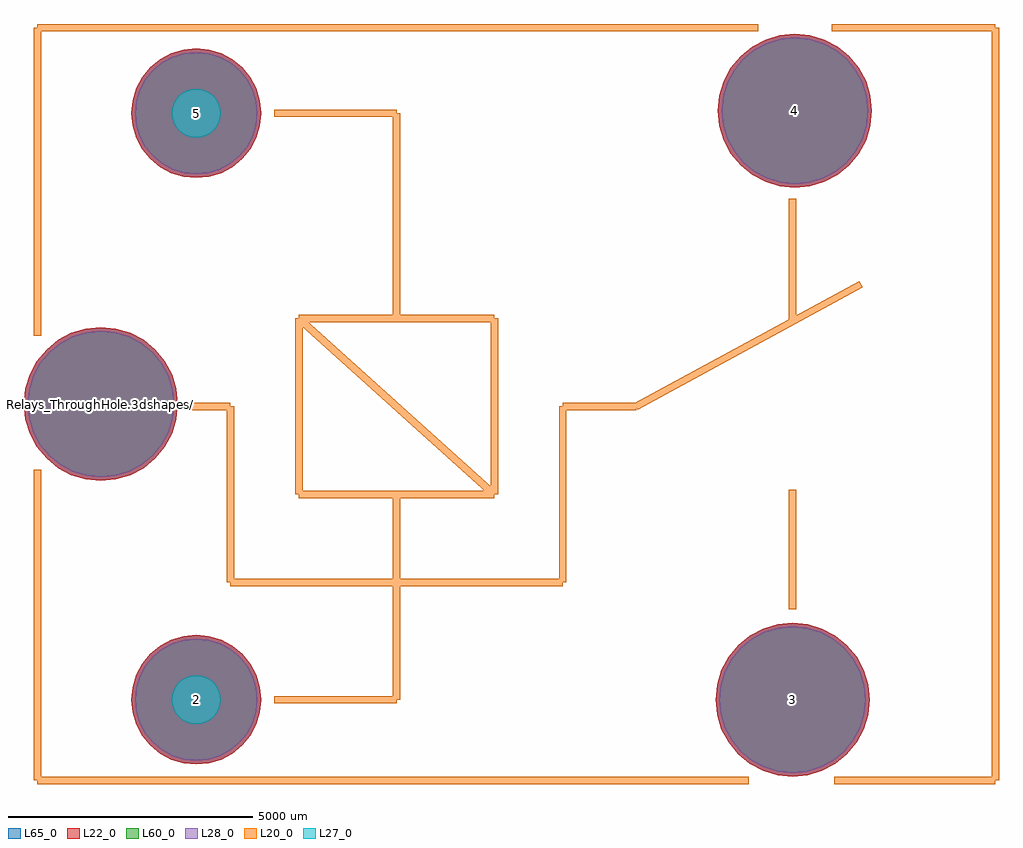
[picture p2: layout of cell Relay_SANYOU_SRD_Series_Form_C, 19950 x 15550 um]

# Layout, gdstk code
import gdstk
lib = gdstk.Library(unit=1e-6, precision=1e-09)
def P(c, l, *ps):  # polygons
    for p in ps: c.add(gdstk.Polygon(p, *l))
L20_0 = (20, 0)
L22_0 = (22, 0)
L27_0 = (27, 0)
L28_0 = (28, 0)
L60_0 = (60, 0)
L65_0 = (65, 0)

relay_sanyou_srd_series_ = lib.new_cell('Relay_SANYOU_SRD_Series_Form_C')
P(relay_sanyou_srd_series_, L22_0, [(1575,0),(1544.737,307.267),(1455.11,602.726),(1309.565,875.023),(1113.693,1113.693),(875.023,1309.565),(602.726,1455.11),(307.267,1544.737),(0,1575),(-307.267,1544.737),(-602.726,1455.11),(-875.023,1309.565),(-1113.693,1113.693),(-1309.565,875.023),(-1455.11,602.726),(-1544.737,307.267),(-1575,0),(-1544.737,-307.267),(-1455.11,-602.726),(-1309.565,-875.023),(-1113.693,-1113.693),(-875.023,-1309.565),(-602.726,-1455.11),(-307.267,-1544.737),(0,-1575),(307.267,-1544.737),(602.726,-1455.11),(875.023,-1309.565),(1113.693,-1113.693),(1309.565,-875.023),(1455.11,-602.726),(1544.737,-307.267)],
  [(3275,5950),(3249.54,6208.495),(3174.14,6457.056),(3051.697,6686.131),(2886.916,6886.916),(2686.131,7051.697),(2457.056,7174.14),(2208.495,7249.54),(1950,7275),(1691.505,7249.54),(1442.944,7174.14),(1213.869,7051.697),(1013.084,6886.916),(848.303,6686.131),(725.86,6457.056),(650.46,6208.495),(625,5950),(650.46,5691.505),(725.86,5442.944),(848.303,5213.869),(1013.084,5013.084),(1213.869,4848.303),(1442.944,4725.86),(1691.505,4650.46),(1950,4625),(2208.495,4650.46),(2457.056,4725.86),(2686.131,4848.303),(2886.916,5013.084),(3051.697,5213.869),(3174.14,5442.944),(3249.54,5691.505)],
  [(15775,6000),(15744.737,6307.267),(15655.11,6602.726),(15509.565,6875.023),(15313.693,7113.693),(15075.023,7309.565),(14802.726,7455.11),(14507.267,7544.737),(14200,7575),(13892.733,7544.737),(13597.274,7455.11),(13324.977,7309.565),(13086.307,7113.693),(12890.435,6875.023),(12744.89,6602.726),(12655.263,6307.267),(12625,6000),(12655.263,5692.733),(12744.89,5397.274),(12890.435,5124.977),(13086.307,4886.307),(13324.977,4690.435),(13597.274,4544.89),(13892.733,4455.263),(14200,4425),(14507.267,4455.263),(14802.726,4544.89),(15075.023,4690.435),(15313.693,4886.307),(15509.565,5124.977),(15655.11,5397.274),(15744.737,5692.733)],
  [(15725,-6050),(15694.737,-5742.733),(15605.11,-5447.274),(15459.565,-5174.977),(15263.693,-4936.307),(15025.023,-4740.435),(14752.726,-4594.89),(14457.267,-4505.263),(14150,-4475),(13842.733,-4505.263),(13547.274,-4594.89),(13274.977,-4740.435),(13036.307,-4936.307),(12840.435,-5174.977),(12694.89,-5447.274),(12605.263,-5742.733),(12575,-6050),(12605.263,-6357.267),(12694.89,-6652.726),(12840.435,-6925.023),(13036.307,-7163.693),(13274.977,-7359.565),(13547.274,-7505.11),(13842.733,-7594.737),(14150,-7625),(14457.267,-7594.737),(14752.726,-7505.11),(15025.023,-7359.565),(15263.693,-7163.693),(15459.565,-6925.023),(15605.11,-6652.726),(15694.737,-6357.267)],
  [(3275,-6050),(3249.54,-5791.505),(3174.14,-5542.944),(3051.697,-5313.869),(2886.916,-5113.084),(2686.131,-4948.303),(2457.056,-4825.86),(2208.495,-4750.46),(1950,-4725),(1691.505,-4750.46),(1442.944,-4825.86),(1213.869,-4948.303),(1013.084,-5113.084),(848.303,-5313.869),(725.86,-5542.944),(650.46,-5791.505),(625,-6050),(650.46,-6308.495),(725.86,-6557.056),(848.303,-6786.131),(1013.084,-6986.916),(1213.869,-7151.697),(1442.944,-7274.14),(1691.505,-7349.54),(1950,-7375),(2208.495,-7349.54),(2457.056,-7274.14),(2686.131,-7151.697),(2886.916,-6986.916),(3051.697,-6786.131),(3174.14,-6557.056),(3249.54,-6308.495)])
P(relay_sanyou_srd_series_, L27_0, [(2449.999,5950),(2440.392,6047.545),(2411.939,6141.341),(2365.734,6227.785),(2303.553,6303.553),(2227.785,6365.734),(2141.341,6411.939),(2047.545,6440.392),(1950,6449.999),(1852.455,6440.392),(1758.659,6411.939),(1672.215,6365.734),(1596.447,6303.553),(1534.266,6227.785),(1488.061,6141.341),(1459.608,6047.545),(1450.001,5950),(1459.608,5852.455),(1488.061,5758.659),(1534.266,5672.215),(1596.447,5596.447),(1672.215,5534.266),(1758.659,5488.061),(1852.455,5459.608),(1950,5450.001),(2047.545,5459.608),(2141.341,5488.061),(2227.785,5534.266),(2303.553,5596.447),(2365.734,5672.215),(2411.939,5758.659),(2440.392,5852.455)],
  [(2449.999,-6050),(2440.392,-5952.455),(2411.939,-5858.659),(2365.734,-5772.215),(2303.553,-5696.447),(2227.785,-5634.266),(2141.341,-5588.061),(2047.545,-5559.608),(1950,-5550.001),(1852.455,-5559.608),(1758.659,-5588.061),(1672.215,-5634.266),(1596.447,-5696.447),(1534.266,-5772.215),(1488.061,-5858.659),(1459.608,-5952.455),(1450.001,-6050),(1459.608,-6147.545),(1488.061,-6241.341),(1534.266,-6327.785),(1596.447,-6403.553),(1672.215,-6465.734),(1758.659,-6511.939),(1852.455,-6540.392),(1950,-6549.999),(2047.545,-6540.392),(2141.341,-6511.939),(2227.785,-6465.734),(2303.553,-6403.553),(2365.734,-6327.785),(2411.939,-6241.341),(2440.392,-6147.545)])
P(relay_sanyou_srd_series_, L28_0, [(1500,0),(1471.178,292.635),(1385.819,574.025),(1247.204,833.355),(1060.66,1060.66),(833.355,1247.204),(574.025,1385.819),(292.635,1471.178),(0,1500),(-292.635,1471.178),(-574.025,1385.819),(-833.355,1247.204),(-1060.66,1060.66),(-1247.204,833.355),(-1385.819,574.025),(-1471.178,292.635),(-1500,0),(-1471.178,-292.635),(-1385.819,-574.025),(-1247.204,-833.355),(-1060.66,-1060.66),(-833.355,-1247.204),(-574.025,-1385.819),(-292.635,-1471.178),(0,-1500),(292.635,-1471.178),(574.025,-1385.819),(833.355,-1247.204),(1060.66,-1060.66),(1247.204,-833.355),(1385.819,-574.025),(1471.178,-292.635)],
  [(3200,5950),(3175.982,6193.863),(3104.849,6428.354),(2989.337,6644.463),(2833.883,6833.883),(2644.463,6989.337),(2428.354,7104.849),(2193.863,7175.982),(1950,7200),(1706.137,7175.982),(1471.646,7104.849),(1255.537,6989.337),(1066.117,6833.883),(910.663,6644.463),(795.151,6428.354),(724.018,6193.863),(700,5950),(724.018,5706.137),(795.151,5471.646),(910.663,5255.537),(1066.117,5066.117),(1255.537,4910.663),(1471.646,4795.151),(1706.137,4724.018),(1950,4700),(2193.863,4724.018),(2428.354,4795.151),(2644.463,4910.663),(2833.883,5066.117),(2989.337,5255.537),(3104.849,5471.646),(3175.982,5706.137)],
  [(15700,6000),(15671.178,6292.635),(15585.819,6574.025),(15447.204,6833.355),(15260.66,7060.66),(15033.355,7247.204),(14774.025,7385.819),(14492.635,7471.178),(14200,7500),(13907.365,7471.178),(13625.975,7385.819),(13366.645,7247.204),(13139.34,7060.66),(12952.796,6833.355),(12814.181,6574.025),(12728.822,6292.635),(12700,6000),(12728.822,5707.365),(12814.181,5425.975),(12952.796,5166.645),(13139.34,4939.34),(13366.645,4752.796),(13625.975,4614.181),(13907.365,4528.822),(14200,4500),(14492.635,4528.822),(14774.025,4614.181),(15033.355,4752.796),(15260.66,4939.34),(15447.204,5166.645),(15585.819,5425.975),(15671.178,5707.365)],
  [(15650,-6050),(15621.178,-5757.365),(15535.819,-5475.975),(15397.204,-5216.645),(15210.66,-4989.34),(14983.355,-4802.796),(14724.025,-4664.181),(14442.635,-4578.822),(14150,-4550),(13857.365,-4578.822),(13575.975,-4664.181),(13316.645,-4802.796),(13089.34,-4989.34),(12902.796,-5216.645),(12764.181,-5475.975),(12678.822,-5757.365),(12650,-6050),(12678.822,-6342.635),(12764.181,-6624.025),(12902.796,-6883.355),(13089.34,-7110.66),(13316.645,-7297.204),(13575.975,-7435.819),(13857.365,-7521.178),(14150,-7550),(14442.635,-7521.178),(14724.025,-7435.819),(14983.355,-7297.204),(15210.66,-7110.66),(15397.204,-6883.355),(15535.819,-6624.025),(15621.178,-6342.635)],
  [(3200,-6050),(3175.982,-5806.137),(3104.849,-5571.646),(2989.337,-5355.537),(2833.883,-5166.117),(2644.463,-5010.663),(2428.354,-4895.151),(2193.863,-4824.018),(1950,-4800),(1706.137,-4824.018),(1471.646,-4895.151),(1255.537,-5010.663),(1066.117,-5166.117),(910.663,-5355.537),(795.151,-5571.646),(724.018,-5806.137),(700,-6050),(724.018,-6293.863),(795.151,-6528.354),(910.663,-6744.463),(1066.117,-6933.883),(1255.537,-7089.337),(1471.646,-7204.849),(1706.137,-7275.982),(1950,-7300),(2193.863,-7275.982),(2428.354,-7204.849),(2644.463,-7089.337),(2833.883,-6933.883),(2989.337,-6744.463),(3104.849,-6528.354),(3175.982,-6293.863)])
P(relay_sanyou_srd_series_, L60_0, [(1500,0),(1471.178,292.635),(1385.819,574.025),(1247.204,833.355),(1060.66,1060.66),(833.355,1247.204),(574.025,1385.819),(292.635,1471.178),(0,1500),(-292.635,1471.178),(-574.025,1385.819),(-833.355,1247.204),(-1060.66,1060.66),(-1247.204,833.355),(-1385.819,574.025),(-1471.178,292.635),(-1500,0),(-1471.178,-292.635),(-1385.819,-574.025),(-1247.204,-833.355),(-1060.66,-1060.66),(-833.355,-1247.204),(-574.025,-1385.819),(-292.635,-1471.178),(0,-1500),(292.635,-1471.178),(574.025,-1385.819),(833.355,-1247.204),(1060.66,-1060.66),(1247.204,-833.355),(1385.819,-574.025),(1471.178,-292.635)],
  [(3200,5950),(3175.982,6193.863),(3104.849,6428.354),(2989.337,6644.463),(2833.883,6833.883),(2644.463,6989.337),(2428.354,7104.849),(2193.863,7175.982),(1950,7200),(1706.137,7175.982),(1471.646,7104.849),(1255.537,6989.337),(1066.117,6833.883),(910.663,6644.463),(795.151,6428.354),(724.018,6193.863),(700,5950),(724.018,5706.137),(795.151,5471.646),(910.663,5255.537),(1066.117,5066.117),(1255.537,4910.663),(1471.646,4795.151),(1706.137,4724.018),(1950,4700),(2193.863,4724.018),(2428.354,4795.151),(2644.463,4910.663),(2833.883,5066.117),(2989.337,5255.537),(3104.849,5471.646),(3175.982,5706.137)],
  [(15700,6000),(15671.178,6292.635),(15585.819,6574.025),(15447.204,6833.355),(15260.66,7060.66),(15033.355,7247.204),(14774.025,7385.819),(14492.635,7471.178),(14200,7500),(13907.365,7471.178),(13625.975,7385.819),(13366.645,7247.204),(13139.34,7060.66),(12952.796,6833.355),(12814.181,6574.025),(12728.822,6292.635),(12700,6000),(12728.822,5707.365),(12814.181,5425.975),(12952.796,5166.645),(13139.34,4939.34),(13366.645,4752.796),(13625.975,4614.181),(13907.365,4528.822),(14200,4500),(14492.635,4528.822),(14774.025,4614.181),(15033.355,4752.796),(15260.66,4939.34),(15447.204,5166.645),(15585.819,5425.975),(15671.178,5707.365)],
  [(15650,-6050),(15621.178,-5757.365),(15535.819,-5475.975),(15397.204,-5216.645),(15210.66,-4989.34),(14983.355,-4802.796),(14724.025,-4664.181),(14442.635,-4578.822),(14150,-4550),(13857.365,-4578.822),(13575.975,-4664.181),(13316.645,-4802.796),(13089.34,-4989.34),(12902.796,-5216.645),(12764.181,-5475.975),(12678.822,-5757.365),(12650,-6050),(12678.822,-6342.635),(12764.181,-6624.025),(12902.796,-6883.355),(13089.34,-7110.66),(13316.645,-7297.204),(13575.975,-7435.819),(13857.365,-7521.178),(14150,-7550),(14442.635,-7521.178),(14724.025,-7435.819),(14983.355,-7297.204),(15210.66,-7110.66),(15397.204,-6883.355),(15535.819,-6624.025),(15621.178,-6342.635)],
  [(3200,-6050),(3175.982,-5806.137),(3104.849,-5571.646),(2989.337,-5355.537),(2833.883,-5166.117),(2644.463,-5010.663),(2428.354,-4895.151),(2193.863,-4824.018),(1950,-4800),(1706.137,-4824.018),(1471.646,-4895.151),(1255.537,-5010.663),(1066.117,-5166.117),(910.663,-5355.537),(795.151,-5571.646),(724.018,-5806.137),(700,-6050),(724.018,-6293.863),(795.151,-6528.354),(910.663,-6744.463),(1066.117,-6933.883),(1255.537,-7089.337),(1471.646,-7204.849),(1706.137,-7275.982),(1950,-7300),(2193.863,-7275.982),(2428.354,-7204.849),(2644.463,-7089.337),(2833.883,-6933.883),(2989.337,-6744.463),(3104.849,-6528.354),(3175.982,-6293.863)])
P(relay_sanyou_srd_series_, L65_0, [(1575,0),(1544.737,307.267),(1455.11,602.726),(1309.565,875.023),(1113.693,1113.693),(875.023,1309.565),(602.726,1455.11),(307.267,1544.737),(0,1575),(-307.267,1544.737),(-602.726,1455.11),(-875.023,1309.565),(-1113.693,1113.693),(-1309.565,875.023),(-1455.11,602.726),(-1544.737,307.267),(-1575,0),(-1544.737,-307.267),(-1455.11,-602.726),(-1309.565,-875.023),(-1113.693,-1113.693),(-875.023,-1309.565),(-602.726,-1455.11),(-307.267,-1544.737),(0,-1575),(307.267,-1544.737),(602.726,-1455.11),(875.023,-1309.565),(1113.693,-1113.693),(1309.565,-875.023),(1455.11,-602.726),(1544.737,-307.267)],
  [(3275,5950),(3249.54,6208.495),(3174.14,6457.056),(3051.697,6686.131),(2886.916,6886.916),(2686.131,7051.697),(2457.056,7174.14),(2208.495,7249.54),(1950,7275),(1691.505,7249.54),(1442.944,7174.14),(1213.869,7051.697),(1013.084,6886.916),(848.303,6686.131),(725.86,6457.056),(650.46,6208.495),(625,5950),(650.46,5691.505),(725.86,5442.944),(848.303,5213.869),(1013.084,5013.084),(1213.869,4848.303),(1442.944,4725.86),(1691.505,4650.46),(1950,4625),(2208.495,4650.46),(2457.056,4725.86),(2686.131,4848.303),(2886.916,5013.084),(3051.697,5213.869),(3174.14,5442.944),(3249.54,5691.505)],
  [(15775,6000),(15744.737,6307.267),(15655.11,6602.726),(15509.565,6875.023),(15313.693,7113.693),(15075.023,7309.565),(14802.726,7455.11),(14507.267,7544.737),(14200,7575),(13892.733,7544.737),(13597.274,7455.11),(13324.977,7309.565),(13086.307,7113.693),(12890.435,6875.023),(12744.89,6602.726),(12655.263,6307.267),(12625,6000),(12655.263,5692.733),(12744.89,5397.274),(12890.435,5124.977),(13086.307,4886.307),(13324.977,4690.435),(13597.274,4544.89),(13892.733,4455.263),(14200,4425),(14507.267,4455.263),(14802.726,4544.89),(15075.023,4690.435),(15313.693,4886.307),(15509.565,5124.977),(15655.11,5397.274),(15744.737,5692.733)],
  [(15725,-6050),(15694.737,-5742.733),(15605.11,-5447.274),(15459.565,-5174.977),(15263.693,-4936.307),(15025.023,-4740.435),(14752.726,-4594.89),(14457.267,-4505.263),(14150,-4475),(13842.733,-4505.263),(13547.274,-4594.89),(13274.977,-4740.435),(13036.307,-4936.307),(12840.435,-5174.977),(12694.89,-5447.274),(12605.263,-5742.733),(12575,-6050),(12605.263,-6357.267),(12694.89,-6652.726),(12840.435,-6925.023),(13036.307,-7163.693),(13274.977,-7359.565),(13547.274,-7505.11),(13842.733,-7594.737),(14150,-7625),(14457.267,-7594.737),(14752.726,-7505.11),(15025.023,-7359.565),(15263.693,-7163.693),(15459.565,-6925.023),(15605.11,-6652.726),(15694.737,-6357.267)],
  [(3275,-6050),(3249.54,-5791.505),(3174.14,-5542.944),(3051.697,-5313.869),(2886.916,-5113.084),(2686.131,-4948.303),(2457.056,-4825.86),(2208.495,-4750.46),(1950,-4725),(1691.505,-4750.46),(1442.944,-4825.86),(1213.869,-4948.303),(1013.084,-5113.084),(848.303,-5313.869),(725.86,-5542.944),(650.46,-5791.505),(625,-6050),(650.46,-6308.495),(725.86,-6557.056),(848.303,-6786.131),(1013.084,-6986.916),(1213.869,-7151.697),(1442.944,-7274.14),(1691.505,-7349.54),(1950,-7375),(2208.495,-7349.54),(2457.056,-7274.14),(2686.131,-7151.697),(2886.916,-6986.916),(3051.697,-6786.131),(3174.14,-6557.056),(3249.54,-6308.495)])
relay_sanyou_srd_series_.add(gdstk.FlexPath([(8050,-1850),(4050,-1850)], 149.998, ends="flush", simple_path=True, layer=20, datatype=0))  # L20_0
relay_sanyou_srd_series_.add(gdstk.FlexPath([(8050,1750),(8050,-1850)], 149.998, ends="flush", simple_path=True, layer=20, datatype=0))  # L20_0
relay_sanyou_srd_series_.add(gdstk.FlexPath([(4050,1750),(8050,1750)], 149.998, ends="flush", simple_path=True, layer=20, datatype=0))  # L20_0
relay_sanyou_srd_series_.add(gdstk.FlexPath([(4050,-1850),(4050,1750)], 149.998, ends="flush", simple_path=True, layer=20, datatype=0))  # L20_0
relay_sanyou_srd_series_.add(gdstk.FlexPath([(8050,-1850),(4050,1750)], 149.998, ends="flush", simple_path=True, layer=20, datatype=0))  # L20_0
relay_sanyou_srd_series_.add(gdstk.FlexPath([(6050,-1850),(6050,-6050)], 149.998, ends="flush", simple_path=True, layer=20, datatype=0))  # L20_0
relay_sanyou_srd_series_.add(gdstk.FlexPath([(6050,5950),(6050,1750)], 149.998, ends="flush", simple_path=True, layer=20, datatype=0))  # L20_0
relay_sanyou_srd_series_.add(gdstk.FlexPath([(2650,-50),(2650,-3650)], 149.998, ends="flush", simple_path=True, layer=20, datatype=0))  # L20_0
relay_sanyou_srd_series_.add(gdstk.FlexPath([(9450,-50),(9450,-3650)], 149.998, ends="flush", simple_path=True, layer=20, datatype=0))  # L20_0
relay_sanyou_srd_series_.add(gdstk.FlexPath([(9450,-3650),(2650,-3650)], 149.998, ends="flush", simple_path=True, layer=20, datatype=0))  # L20_0
relay_sanyou_srd_series_.add(gdstk.FlexPath([(10950,-50),(15550,2450)], 149.998, ends="flush", simple_path=True, layer=20, datatype=0))  # L20_0
relay_sanyou_srd_series_.add(gdstk.FlexPath([(9450,-50),(10950,-50)], 149.998, ends="flush", simple_path=True, layer=20, datatype=0))  # L20_0
relay_sanyou_srd_series_.add(gdstk.FlexPath([(6050,5950),(3550,5950)], 149.998, ends="flush", simple_path=True, layer=20, datatype=0))  # L20_0
relay_sanyou_srd_series_.add(gdstk.FlexPath([(2650,-50),(1850,-50)], 149.998, ends="flush", simple_path=True, layer=20, datatype=0))  # L20_0
relay_sanyou_srd_series_.add(gdstk.FlexPath([(3550,-6050),(6050,-6050)], 149.998, ends="flush", simple_path=True, layer=20, datatype=0))  # L20_0
relay_sanyou_srd_series_.add(gdstk.FlexPath([(14150,4200),(14150,1700)], 149.998, ends="flush", simple_path=True, layer=20, datatype=0))  # L20_0
relay_sanyou_srd_series_.add(gdstk.FlexPath([(14150,-4200),(14150,-1750)], 149.998, ends="flush", simple_path=True, layer=20, datatype=0))  # L20_0
relay_sanyou_srd_series_.add(gdstk.FlexPath([(-1300,7650),(-1300,1400)], 149.998, ends="flush", simple_path=True, layer=20, datatype=0))  # L20_0
relay_sanyou_srd_series_.add(gdstk.FlexPath([(-1300,7700),(13450,7700)], 149.998, ends="flush", simple_path=True, layer=20, datatype=0))  # L20_0
relay_sanyou_srd_series_.add(gdstk.FlexPath([(-1300,1400),(-1300,7700)], 149.998, ends="flush", simple_path=True, layer=20, datatype=0))  # L20_0
relay_sanyou_srd_series_.add(gdstk.FlexPath([(-1300,-7700),(13250,-7700)], 149.998, ends="flush", simple_path=True, layer=20, datatype=0))  # L20_0
relay_sanyou_srd_series_.add(gdstk.FlexPath([(-1300,-1350),(-1300,-7700)], 149.998, ends="flush", simple_path=True, layer=20, datatype=0))  # L20_0
relay_sanyou_srd_series_.add(gdstk.FlexPath([(18300,7700),(14950,7700)], 149.998, ends="flush", simple_path=True, layer=20, datatype=0))  # L20_0
relay_sanyou_srd_series_.add(gdstk.FlexPath([(18300,-7700),(18300,7700)], 149.998, ends="flush", simple_path=True, layer=20, datatype=0))  # L20_0
relay_sanyou_srd_series_.add(gdstk.FlexPath([(15000,-7700),(18300,-7700)], 149.998, ends="flush", simple_path=True, layer=20, datatype=0))  # L20_0
relay_sanyou_srd_series_.add(gdstk.Label('Relays_ThroughHole.3dshapes/Relay_SANYOU_SRD_Series_Form_C.wrl', (0,0), layer=12, texttype=0))
relay_sanyou_srd_series_.add(gdstk.Label('1', (0,0), layer=28, texttype=0))
relay_sanyou_srd_series_.add(gdstk.Label('5', (1950,5950), layer=28, texttype=0))
relay_sanyou_srd_series_.add(gdstk.Label('4', (14200,6000), layer=28, texttype=0))
relay_sanyou_srd_series_.add(gdstk.Label('3', (14150,-6050), layer=28, texttype=0))
relay_sanyou_srd_series_.add(gdstk.Label('2', (1950,-6050), layer=28, texttype=0))
relay_sanyou_srd_series_.add(gdstk.Label('type', (8000,9600), layer=9, texttype=0))
relay_sanyou_srd_series_.add(gdstk.Label('devicename', (8100,-9200), layer=9, texttype=0))

lib.write_gds('Relay_SANYOU_SRD_Series_Form_C.gds')
